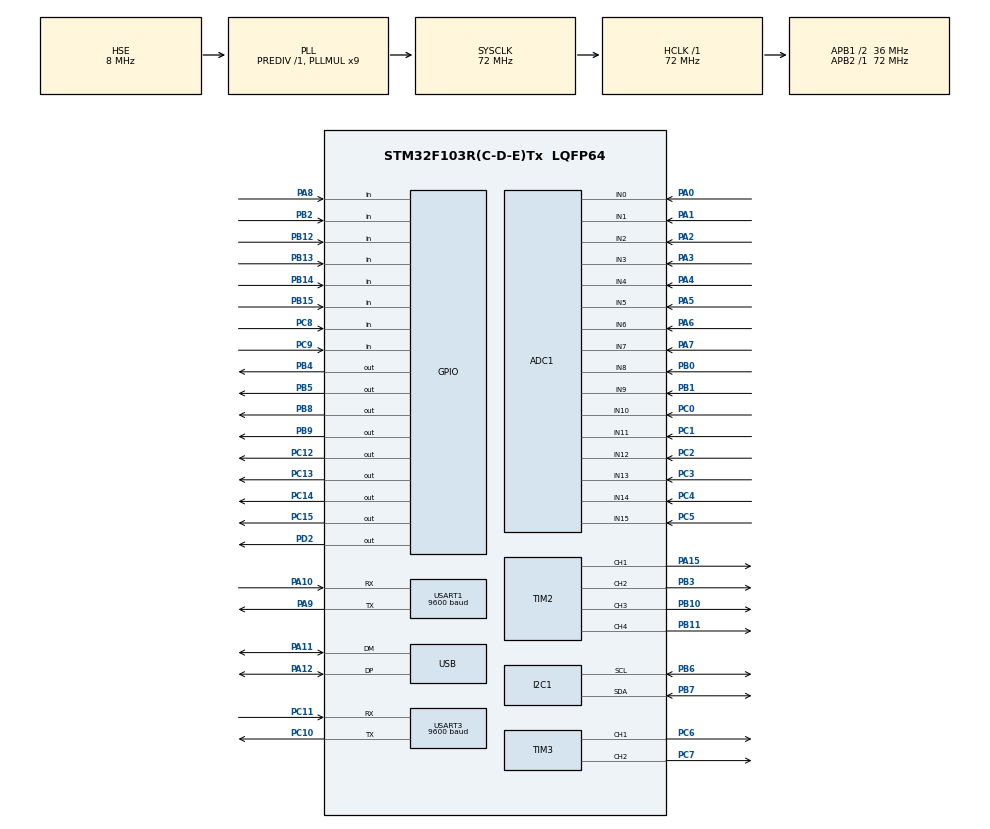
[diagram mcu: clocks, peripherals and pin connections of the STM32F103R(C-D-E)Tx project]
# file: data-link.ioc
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ADC1.ContinuousConvMode=DISABLE
ADC1.DataAlign=ADC_DATAALIGN_RIGHT
ADC1.EnableRegularConversion=DISABLE
ADC1.master=1
Dma.Request0=USART3_RX
Dma.Request1=USART1_TX
Dma.Request2=USART3_TX
Dma.USART1_TX.1.Direction=DMA_MEMORY_TO_PERIPH
Dma.USART1_TX.1.Instance=DMA1_Channel4
Dma.USART1_TX.1.MemDataAlignment=DMA_MDATAALIGN_BYTE
Dma.USART1_TX.1.MemInc=DMA_MINC_ENABLE
Dma.USART1_TX.1.Mode=DMA_NORMAL
Dma.USART1_TX.1.PeriphDataAlignment=DMA_PDATAALIGN_BYTE
Dma.USART1_TX.1.PeriphInc=DMA_PINC_DISABLE
Dma.USART1_TX.1.Priority=DMA_PRIORITY_LOW
Dma.USART3_RX.0.Direction=DMA_PERIPH_TO_MEMORY
Dma.USART3_RX.0.Instance=DMA1_Channel3
Dma.USART3_RX.0.MemDataAlignment=DMA_MDATAALIGN_BYTE
Dma.USART3_RX.0.MemInc=DMA_MINC_ENABLE
Dma.USART3_RX.0.Mode=DMA_NORMAL
Dma.USART3_RX.0.PeriphDataAlignment=DMA_PDATAALIGN_BYTE
Dma.USART3_RX.0.PeriphInc=DMA_PINC_DISABLE
Dma.USART3_RX.0.Priority=DMA_PRIORITY_LOW
Dma.USART3_TX.2.Direction=DMA_MEMORY_TO_PERIPH
Dma.USART3_TX.2.Instance=DMA1_Channel2
Dma.USART3_TX.2.MemDataAlignment=DMA_MDATAALIGN_BYTE
Dma.USART3_TX.2.MemInc=DMA_MINC_ENABLE
Dma.USART3_TX.2.Mode=DMA_NORMAL
Dma.USART3_TX.2.PeriphDataAlignment=DMA_PDATAALIGN_BYTE
Dma.USART3_TX.2.PeriphInc=DMA_PINC_DISABLE
Dma.USART3_TX.2.Priority=DMA_PRIORITY_LOW
Mcu.Family=STM32F1
Mcu.Name=STM32F103R(C-D-E)Tx
Mcu.Package=LQFP64
NVIC.DMA1_Channel2_IRQn=true\:0\:0\:false\:false\:true\:false\:true\:true
NVIC.DMA1_Channel3_IRQn=true\:0\:0\:false\:false\:true\:false\:true\:true
NVIC.DMA1_Channel4_IRQn=true\:0\:0\:false\:false\:true\:false\:true\:true
NVIC.PriorityGroup=NVIC_PRIORITYGROUP_4
NVIC.USART1_IRQn=true\:0\:0\:false\:false\:true\:true\:true\:true
NVIC.USART3_IRQn=true\:0\:0\:false\:false\:true\:true\:true\:true
PA0-WKUP.Signal=ADCx_IN0
PA1.Signal=ADCx_IN1
PA10.Mode=Asynchronous
PA10.Signal=USART1_RX
PA11.Mode=Device
PA11.Signal=USB_DM
PA12.Mode=Device
PA12.Signal=USB_DP
PA13.Mode=Serial_Wire
PA13.Signal=SYS_JTMS-SWDIO
PA14.Mode=Serial_Wire
PA14.Signal=SYS_JTCK-SWCLK
PA15.Signal=S_TIM2_CH1_ETR
PA2.Signal=ADCx_IN2
PA3.Signal=ADCx_IN3
PA4.Signal=ADCx_IN4
PA5.Signal=ADCx_IN5
PA6.Signal=ADCx_IN6
PA7.Signal=ADCx_IN7
PA8.Signal=GPIO_Input
PA9.Mode=Asynchronous
PA9.Signal=USART1_TX
PB0.Signal=ADCx_IN8
PB1.Signal=ADCx_IN9
PB10.Signal=S_TIM2_CH3
PB11.Signal=S_TIM2_CH4
PB12.Signal=GPIO_Input
PB13.Signal=GPIO_Input
PB14.Signal=GPIO_Input
PB15.Signal=GPIO_Input
PB2.Signal=GPIO_Input
PB3.Signal=S_TIM2_CH2
PB4.Signal=GPIO_Output
PB5.Signal=GPIO_Output
PB6.Mode=I2C
PB6.Signal=I2C1_SCL
PB7.Mode=I2C
PB7.Signal=I2C1_SDA
PB8.Signal=GPIO_Output
PB9.Signal=GPIO_Output
PC0.Signal=ADCx_IN10
PC1.Signal=ADCx_IN11
PC10.Mode=Asynchronous
PC10.Signal=USART3_TX
PC11.Mode=Asynchronous
PC11.Signal=USART3_RX
PC12.PinState=GPIO_PIN_SET
PC12.Signal=GPIO_Output
PC13-TAMPER-RTC.Signal=GPIO_Output
PC14-OSC32_IN.Signal=GPIO_Output
PC15-OSC32_OUT.Signal=GPIO_Output
PC2.Signal=ADCx_IN12
PC3.Signal=ADCx_IN13
PC4.Signal=ADCx_IN14
PC5.Signal=ADCx_IN15
PC6.Signal=S_TIM3_CH1
PC7.Signal=S_TIM3_CH2
PC8.Signal=GPIO_Input
PC9.Signal=GPIO_Input
PD0-OSC_IN.Mode=HSE-External-Oscillator
PD0-OSC_IN.Signal=RCC_OSC_IN
PD1-OSC_OUT.Mode=HSE-External-Oscillator
PD1-OSC_OUT.Signal=RCC_OSC_OUT
PD2.PinState=GPIO_PIN_SET
PD2.Signal=GPIO_Output
ProjectManager.HeapSize=0x200
ProjectManager.StackSize=0x400
ProjectManager.TargetToolchain=STM32CubeIDE
RCC.ADCPresc=RCC_ADCPCLK2_DIV6
RCC.AHBFreq_Value=72000000
RCC.APB1CLKDivider=RCC_HCLK_DIV2
RCC.APB1Freq_Value=36000000
RCC.APB1TimFreq_Value=72000000
RCC.APB2Freq_Value=72000000
RCC.APB2TimFreq_Value=72000000
RCC.HCLKFreq_Value=72000000
RCC.PLLMUL=RCC_PLL_MUL9
RCC.PLLSourceVirtual=RCC_PLLSOURCE_HSE
RCC.SYSCLKFreq_VALUE=72000000
RCC.SYSCLKSource=RCC_SYSCLKSOURCE_PLLCLK
RCC.USBFreq_Value=48000000
RCC.USBPrescaler=RCC_USBCLKSOURCE_PLL_DIV1_5
SH.ADCx_IN0.0=ADC1_IN0,IN0
SH.ADCx_IN1.0=ADC1_IN1,IN1
SH.ADCx_IN10.0=ADC1_IN10,IN10
SH.ADCx_IN11.0=ADC1_IN11,IN11
SH.ADCx_IN12.0=ADC1_IN12,IN12
SH.ADCx_IN13.0=ADC1_IN13,IN13
SH.ADCx_IN14.0=ADC1_IN14,IN14
SH.ADCx_IN15.0=ADC1_IN15,IN15
SH.ADCx_IN2.0=ADC1_IN2,IN2
SH.ADCx_IN3.0=ADC1_IN3,IN3
SH.ADCx_IN4.0=ADC1_IN4,IN4
SH.ADCx_IN5.0=ADC1_IN5,IN5
SH.ADCx_IN6.0=ADC1_IN6,IN6
SH.ADCx_IN7.0=ADC1_IN7,IN7
SH.ADCx_IN8.0=ADC1_IN8,IN8
SH.ADCx_IN9.0=ADC1_IN9,IN9
SH.S_TIM2_CH1_ETR.0=TIM2_CH1,PWM Generation1 CH1
SH.S_TIM2_CH2.0=TIM2_CH2,PWM Generation2 CH2
SH.S_TIM2_CH3.0=TIM2_CH3,PWM Generation3 CH3
SH.S_TIM2_CH4.0=TIM2_CH4,PWM Generation4 CH4
SH.S_TIM3_CH1.0=TIM3_CH1,PWM Generation1 CH1
SH.S_TIM3_CH2.0=TIM3_CH2,PWM Generation2 CH2
TIM2.Channel-PWM\ Generation1\ CH1=TIM_CHANNEL_1
TIM2.Channel-PWM\ Generation2\ CH2=TIM_CHANNEL_2
TIM2.Channel-PWM\ Generation3\ CH3=TIM_CHANNEL_3
TIM2.Channel-PWM\ Generation4\ CH4=TIM_CHANNEL_4
TIM3.Channel-PWM\ Generation1\ CH1=TIM_CHANNEL_1
TIM3.Channel-PWM\ Generation2\ CH2=TIM_CHANNEL_2
USART1.BaudRate=9600
USART1.VirtualMode=VM_ASYNC
USART3.BaudRate=9600
USART3.VirtualMode=VM_ASYNC
VP_ADC1_TempSens_Input.Mode=IN-TempSens
VP_ADC1_Vref_Input.Mode=IN-Vrefint
board=custom

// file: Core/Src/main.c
/* USER CODE BEGIN Header */
/**
 ******************************************************************************
 * @file           : main.c
 * @brief          : Main program body
 ******************************************************************************
 * @attention
 *
 * Copyright (c) 2025 STMicroelectronics.
 * All rights reserved.
 *
 * This software is licensed under terms that can be found in the LICENSE file
 * in the root directory of this software component.
 * If no LICENSE file comes with this software, it is provided AS-IS.
 *
 ******************************************************************************
 */
/* USER CODE END Header */
#include "main.h"
#include "adc.h"
#include "dma.h"
#include "i2c.h"
#include "tim.h"
#include "usart.h"
#include "usb.h"
#include "gpio.h"

/* USER CODE BEGIN Includes */
#include "string.h"
#include "stdio.h"
#include "stdlib.h"
#include "crc8.h"
/* USER CODE END Includes */

void SystemClock_Config(void);

/* USER CODE BEGIN 0 */

/**
 * 采用透传模式，共支持10个客户端，全部采用FF信道，但是定义各自的ID，互相协同，按照顺序分别发送
 */

#define SERVER
#define CLIENT_ID 0x03
#define CLIENT_NUM 3
#define SEND_WAIT_TIME 2000

#define S_1 0x10
#define S_2 0x24

#define ADDR_H 0xFF
#define ADDR_L 0xFF
#define CHANNEL_NO 0x2E

#define HEAD_LEN 6
#define PACKAGE_LEN 54
#define MAX_DATA_LEN PACKAGE_LEN - HEAD_LEN

#define MIN(a,b) (((a) < (b)) ? (a) : (b))
#define MAX(a,b) (((a) > (b)) ? (a) : (b))

typedef enum {
	DATA_TYPE_PT100_FLOW = 0x00U, DATA_TYPE_CURRENT = 0x01U
} data_type;

typedef struct _DATA_PACK {
	uint8_t s_1; //0x10
	uint8_t s_2; //0x24
	uint8_t client_id;
	uint8_t type; //数据类型
	uint8_t crc;
	uint8_t len;
	uint8_t data[MAX_DATA_LEN];
} data_pack;

typedef struct _DATA_LOGGER {
	uint32_t recv_s_error_cnt;
	uint32_t recv_cnt_by_client[10];
	uint32_t recv_ok_cnt_1;
	uint32_t recv_ok_cnt_2;
	uint32_t send_ok_cnt_1;
	uint32_t send_ok_cnt_2;
	uint32_t send_ok_cnt;
	uint32_t send_ok_timeout_cnt;
	uint32_t recv_timout_cnt;
	uint32_t send_timout_cnt;
	uint32_t recv_crc_error_cnt;
	uint32_t recv_size_error_cnt;
	uint32_t recv_client_error_cnt;
	uint32_t recv_unknow_error_cnt;
	uint32_t send_unknow_error_cnt;
	uint32_t uart1_error_cnt;

} data_logger;

data_pack recv_buf = { 0 };
data_pack send_buf = { 0 };
data_logger logger = { 0 };

uint32_t last_recv_time = 0;
uint32_t last_recv_time_a[CLIENT_NUM] = {0};
uint32_t last_send_time = 0;
uint8_t last_client_id = 0;

uint32_t get_adc_val(uint32_t index) {
	ADC_ChannelConfTypeDef sConfig = { 0 };
	sConfig.SamplingTime = ADC_SAMPLETIME_239CYCLES_5;
	switch (index) {
	case 0:
		sConfig.Channel = ADC_CHANNEL_0;
		break;
	case 1:
		sConfig.Channel = ADC_CHANNEL_1;
		break;
	case 2:
		sConfig.Channel = ADC_CHANNEL_2;
		break;
	case 3:
		sConfig.Channel = ADC_CHANNEL_3;
		break;
	case 4:
		sConfig.Channel = ADC_CHANNEL_4;
		break;
	case 5:
		sConfig.Channel = ADC_CHANNEL_5;
		break;
	case 6:
		sConfig.Channel = ADC_CHANNEL_6;
		break;
	case 7:
		sConfig.Channel = ADC_CHANNEL_7;
		break;
	case 8:
		sConfig.Channel = ADC_CHANNEL_8;
		break;
	case 9:
		sConfig.Channel = ADC_CHANNEL_9;
		break;
	case 10:
		sConfig.Channel = ADC_CHANNEL_10;
		break;
	case 11:
		sConfig.Channel = ADC_CHANNEL_11;
		break;
	case 12:
		sConfig.Channel = ADC_CHANNEL_12;
		break;
	case 13:
		sConfig.Channel = ADC_CHANNEL_13;
		break;
	case 14:
		sConfig.Channel = ADC_CHANNEL_14;
		break;
	case 15:
		sConfig.Channel = ADC_CHANNEL_15;
		break;
	case 16:
		sConfig.Channel = ADC_CHANNEL_TEMPSENSOR;
		break;
	case 17:
		sConfig.Channel = ADC_CHANNEL_VREFINT;
		break;

	default:
		break;
	}
	sConfig.Rank = 1;

	if (HAL_ADC_ConfigChannel(&hadc1, &sConfig) != HAL_OK) {
		Error_Handler();
	}

	HAL_ADC_Start(&hadc1);
	HAL_ADC_PollForConversion(&hadc1, HAL_MAX_DELAY);
	uint32_t val = HAL_ADC_GetValue(&hadc1);
	HAL_ADC_Stop(&hadc1);

	return val;
}

uint32_t aux_ready() {
	GPIO_PinState s = HAL_GPIO_ReadPin(GPIOA, GPIO_PIN_8);
	if (s == GPIO_PIN_RESET) {
		return 0;
	} else {
		return 1;
	}
}

void wait_w() { //等待可写
	while (aux_ready() != 1) {
		//nothing to do
	}
}

void recv_log_error(HAL_StatusTypeDef e) {
	if (e == HAL_TIMEOUT)
		logger.recv_timout_cnt++;
	if (e == HAL_ERROR)
		logger.recv_unknow_error_cnt++;
}

void send_log_error(HAL_StatusTypeDef e) {
	if (e == HAL_TIMEOUT)
		logger.send_timout_cnt++;
	if (e == HAL_ERROR)
		logger.send_unknow_error_cnt++;
}

void recv_log_ok(data_type type) {
	if (type == DATA_TYPE_CURRENT) {
		logger.recv_ok_cnt_2++;
	} else {
		logger.recv_ok_cnt_1++;
	}
}

void send_log_ok(data_type type) {
	if (type == DATA_TYPE_CURRENT) {
		logger.send_ok_cnt_2++;
	} else {
		logger.send_ok_cnt_1++;
	}
}

HAL_StatusTypeDef get_p() {
	//查询设置
	uint8_t query[3] = { 0xC1, 0xC1, 0xC1 };
	HAL_StatusTypeDef ret = HAL_UART_Transmit(&huart3, query, sizeof(query), 1000);
	if (ret != HAL_OK) {
		send_log_error(ret);
		return ret;
	}
	uint8_t setting[6] = { 0 };
	ret = HAL_UART_Receive(&huart3, setting, sizeof(setting), 1000);
	if (ret != HAL_OK) {
		recv_log_error(ret);
		return ret;
	}
	return HAL_OK;
}

/**
 * 设置无线芯片参数，使用定点模式
 */
uint8_t setup_f = 0;
HAL_StatusTypeDef set_p() {
	//wait_w();
	//设置模式
	HAL_GPIO_WritePin(GPIOC, GPIO_PIN_12, GPIO_PIN_RESET); //M0
	HAL_GPIO_WritePin(GPIOD, GPIO_PIN_2, GPIO_PIN_SET); //M1
	HAL_Delay(10); //等10ms
	//设置地址和信道等
	uint8_t setting[6] = { 0 };
	setting[0] = 0xC0;
	setting[1] = ADDR_H; //地址高字节
	setting[2] = ADDR_L; //地址低字节
	setting[4] = CHANNEL_NO; //信道
	setting[3] = 0x1D; //波特率等 空中速率50K
	setting[5] = 0x00; //透传模式
	__HAL_UART_FLUSH_DRREGISTER(&huart3);
	HAL_StatusTypeDef ret = HAL_UART_Transmit(&huart3, setting, sizeof(setting),
			1000);
	if (ret != HAL_OK) {
		send_log_error(ret);
		return ret;
	}
	HAL_UART_Receive(&huart3, setting, sizeof(setting), 1000); //接收返回，不做校验了
	HAL_Delay(10); //等10ms
	//发射模式
	//wait_w();
	HAL_GPIO_WritePin(GPIOC, GPIO_PIN_12, GPIO_PIN_RESET); //M0
	HAL_GPIO_WritePin(GPIOD, GPIO_PIN_2, GPIO_PIN_RESET); //M1
	setup_f = 1;
	return HAL_OK;
}

//永远都发送package size
HAL_StatusTypeDef send_data(uint8_t addrh, uint8_t addrl, uint8_t ch,
		data_type type, uint8_t *data, size_t len) {
	send_buf.s_1 = S_1;
	send_buf.s_2 = S_2;
	send_buf.client_id = CLIENT_ID;
	send_buf.type = type;
	send_buf.len = len;
	memcpy(send_buf.data, data, len);
	send_buf.crc = crc8(send_buf.data, len);
	if (send_buf.crc == 0) {
		send_buf.crc = 111;
	}
	//wait_w();
	HAL_StatusTypeDef ret = HAL_UART_Transmit_DMA(&huart3, (uint8_t*) &send_buf,
	PACKAGE_LEN);
	if (ret != HAL_OK) {
		send_log_error(ret);
	}
	send_log_ok(type);
	return ret;
}

HAL_StatusTypeDef send_data_to_server(data_type type, uint8_t *data, size_t len) {
	return send_data(ADDR_H, ADDR_L, CHANNEL_NO, type, data, len);
}

HAL_StatusTypeDef recv_data(uint8_t reset) {
	if (reset) __HAL_UART_FLUSH_DRREGISTER(&huart3);
	HAL_StatusTypeDef ret = HAL_UART_Receive_DMA(&huart3, (uint8_t*) &recv_buf,
	PACKAGE_LEN);
	if (ret != HAL_OK) {
		recv_log_error(ret);
		return ret;
	}
	return HAL_OK;
}

uint32_t get_pt100_adc(uint32_t m, uint32_t n) {
	int i = (m > n) ? m - n : n - m;
	if (i < 10) return 0;

	float max = 4095;
	float s1 = m / (max - m);
	float s2 = n / (max - n);
	float s = (s1 > s2) ? (s1 - s2) : (s2 - s1);
	float r_adc = max * s / (1 + s);
	return (uint32_t)(r_adc + 0.5);
}

HAL_StatusTypeDef send_pt100_flow_data() {
	int val[12] = { 0 };
	uint32_t i = 0;
	for (i = 0; i < 12; ++i) {
		val[i] = get_adc_val(i);
	}

	//填充数据
	uint32_t data[8] = { 0 };

	//1.PT100数据
	data[0] = get_pt100_adc(val[0], val[1]);
	data[1] = get_pt100_adc(val[2], val[3]);
	data[2] = get_pt100_adc(val[4], val[5]);
	data[3] = get_pt100_adc(val[6], val[7]);
	//2.flow数据
	data[4] = val[8];
	data[5] = val[9];
	data[6] = val[10];
	data[7] = val[11];

	HAL_StatusTypeDef ret = send_data_to_server(DATA_TYPE_PT100_FLOW,
			(uint8_t*) data, 8 * sizeof(uint32_t));
	return ret;
}

HAL_StatusTypeDef send_current_data() {
	int val[6] = { 0 };
	uint32_t i = 0;
	uint32_t j = 0;
	for (i = 12; i < 18; ++i) {
		val[j++] = get_adc_val(i);
	}

	HAL_StatusTypeDef ret = send_data_to_server(DATA_TYPE_CURRENT,
			(uint8_t*) val, 6 * sizeof(uint32_t));

	return ret;
}

uint8_t _switch = 0;
HAL_StatusTypeDef send_data_switch() {
	HAL_StatusTypeDef ret;
	if (_switch == 0) {
		ret = send_pt100_flow_data();
		_switch = 1;
	} else {
		ret = send_current_data();
		_switch = 0;
	}
	return ret;
}

uint8_t pre_id(uint8_t me) {
	if (me == 1) return CLIENT_NUM - 1;
	return me - 1;
}

uint8_t is_pre(uint8_t me, uint8_t pre) {
	if (pre == 0) return 0;
	return pre == pre_id(me);
}

/* USER CODE END 0 */

int main(void)
{

  /* MCU Configuration--------------------------------------------------------*/

  /* Reset of all peripherals, Initializes the Flash interface and the Systick. */
  HAL_Init();

  /* Configure the system clock */
  SystemClock_Config();

  /* Initialize all configured peripherals */
  MX_GPIO_Init();
  MX_DMA_Init();
  MX_USART1_UART_Init();
  MX_ADC1_Init();
  MX_TIM2_Init();
  MX_TIM3_Init();
  MX_USART3_UART_Init();
  MX_I2C1_Init();
  MX_USB_PCD_Init();

  /* Infinite loop */
  /* USER CODE BEGIN WHILE */
	HAL_Delay(1000);
	while (set_p() != HAL_OK) {
		HAL_Delay(100);
	}

	last_recv_time = HAL_GetTick();
	last_recv_time_a[pre_id(CLIENT_ID)] = last_recv_time;
	recv_data(0);
	while (1) {
#ifdef SERVER
		//不需要做事情了
		HAL_Delay(10);
#else
		//一直循环计时，判断之前收到的消息id是不是自己的上一个，如果不是，继续等待接收，直到上一个到达
		uint32_t now = HAL_GetTick();
		if (is_pre(CLIENT_ID, last_client_id)) { //现在收到的是我的上一个
			if (last_send_time < last_recv_time_a[pre_id(CLIENT_ID) - 1]) { //是新收到的消息，这里不使用last_client_id，避免中间过程被中断改写
				HAL_Delay(10);
				send_data_switch();
				logger.send_ok_cnt ++;
				last_send_time = now;
			}
		} else {
			//不是上一个，则计算上一次收到的id和我的距离
			uint32_t dist =
					(last_client_id > CLIENT_ID) ?
					CLIENT_NUM - last_client_id + CLIENT_ID :
													CLIENT_ID - last_client_id;
			if (now - MAX(last_recv_time, last_send_time) >= SEND_WAIT_TIME * dist) { //需要发送了
				HAL_Delay(10);
				send_data_switch();
				logger.send_ok_timeout_cnt++;
				last_send_time = now;
			}
		}
#endif
    /* USER CODE END WHILE */

	}
}

void SystemClock_Config(void)
{
  RCC_OscInitTypeDef RCC_OscInitStruct = {0};
  RCC_ClkInitTypeDef RCC_ClkInitStruct = {0};
  RCC_PeriphCLKInitTypeDef PeriphClkInit = {0};

  /** Initializes the RCC Oscillators according to the specified parameters
  * in the RCC_OscInitTypeDef structure.
  */
  RCC_OscInitStruct.OscillatorType = RCC_OSCILLATORTYPE_HSE;
  RCC_OscInitStruct.HSEState = RCC_HSE_ON;
  RCC_OscInitStruct.HSEPredivValue = RCC_HSE_PREDIV_DIV1;
  RCC_OscInitStruct.HSIState = RCC_HSI_ON;
  RCC_OscInitStruct.PLL.PLLState = RCC_PLL_ON;
  RCC_OscInitStruct.PLL.PLLSource = RCC_PLLSOURCE_HSE;
  RCC_OscInitStruct.PLL.PLLMUL = RCC_PLL_MUL9;
  if (HAL_RCC_OscConfig(&RCC_OscInitStruct) != HAL_OK)
  {
    Error_Handler();
  }

  /** Initializes the CPU, AHB and APB buses clocks
  */
  RCC_ClkInitStruct.ClockType = RCC_CLOCKTYPE_HCLK|RCC_CLOCKTYPE_SYSCLK
                              |RCC_CLOCKTYPE_PCLK1|RCC_CLOCKTYPE_PCLK2;
  RCC_ClkInitStruct.SYSCLKSource = RCC_SYSCLKSOURCE_PLLCLK;
  RCC_ClkInitStruct.AHBCLKDivider = RCC_SYSCLK_DIV1;
  RCC_ClkInitStruct.APB1CLKDivider = RCC_HCLK_DIV2;
  RCC_ClkInitStruct.APB2CLKDivider = RCC_HCLK_DIV1;

  if (HAL_RCC_ClockConfig(&RCC_ClkInitStruct, FLASH_LATENCY_2) != HAL_OK)
  {
    Error_Handler();
  }
  PeriphClkInit.PeriphClockSelection = RCC_PERIPHCLK_ADC|RCC_PERIPHCLK_USB;
  PeriphClkInit.AdcClockSelection = RCC_ADCPCLK2_DIV6;
  PeriphClkInit.UsbClockSelection = RCC_USBCLKSOURCE_PLL_DIV1_5;
  if (HAL_RCCEx_PeriphCLKConfig(&PeriphClkInit) != HAL_OK)
  {
    Error_Handler();
  }
}

/* USER CODE BEGIN 4 */
void HAL_UART_TxCpltCallback(UART_HandleTypeDef *uart) {

}

HAL_StatusTypeDef check_pack() {
	if (recv_buf.len > MAX_DATA_LEN) { //肯定接受错误
		logger.recv_size_error_cnt++;
		return HAL_ERROR;
	}
	if (recv_buf.s_1 != S_1 || recv_buf.s_2 != S_2) { //数据错乱
		logger.recv_s_error_cnt++;
		return HAL_ERROR;
	}
	int crc = crc8(recv_buf.data, recv_buf.len);
	if (!(crc == recv_buf.crc || (crc == 0 && recv_buf.crc == 111))) {
		logger.recv_crc_error_cnt++;
		return HAL_ERROR;
	}
	if (recv_buf.client_id < 1 || recv_buf.client_id > CLIENT_NUM) { //clientid 错误
		logger.recv_client_error_cnt++;
		return HAL_ERROR;
	}
	return HAL_OK;
}

void HAL_UART_RxCpltCallback(UART_HandleTypeDef *uart) {
#ifdef SERVER //不做任何校验，收到的内容全部串口发送出去
	//logger.recv_cnt_by_client[recv_buf.client_id-1]++; //暂不记录日志，避免错误的包导致的内存错误
	memcpy((void*)&send_buf, (void*)&recv_buf, PACKAGE_LEN);
	recv_data(0);
	last_recv_time = HAL_GetTick();
	HAL_StatusTypeDef ret = HAL_UART_Transmit_DMA(&huart1, (uint8_t*)&send_buf, PACKAGE_LEN);
	if (ret != HAL_OK) {
		logger.uart1_error_cnt++;
	}
#else
	if (check_pack() != HAL_OK) {
		recv_data(1); //继续接收
		return;
	}
	recv_log_ok(recv_buf.type);
	last_client_id = recv_buf.client_id;
	recv_data(0); //继续接收
	logger.recv_cnt_by_client[last_client_id-1]++;
	last_recv_time = HAL_GetTick();
	last_recv_time_a[last_client_id - 1] = last_recv_time;
#endif
}

void HAL_UART_ErrorCallback(UART_HandleTypeDef *uh) {
	recv_data(1);
	logger.recv_unknow_error_cnt ++;
}
/* USER CODE END 4 */

void Error_Handler(void)
{
	__disable_irq();
	while (1) {
	}
}
